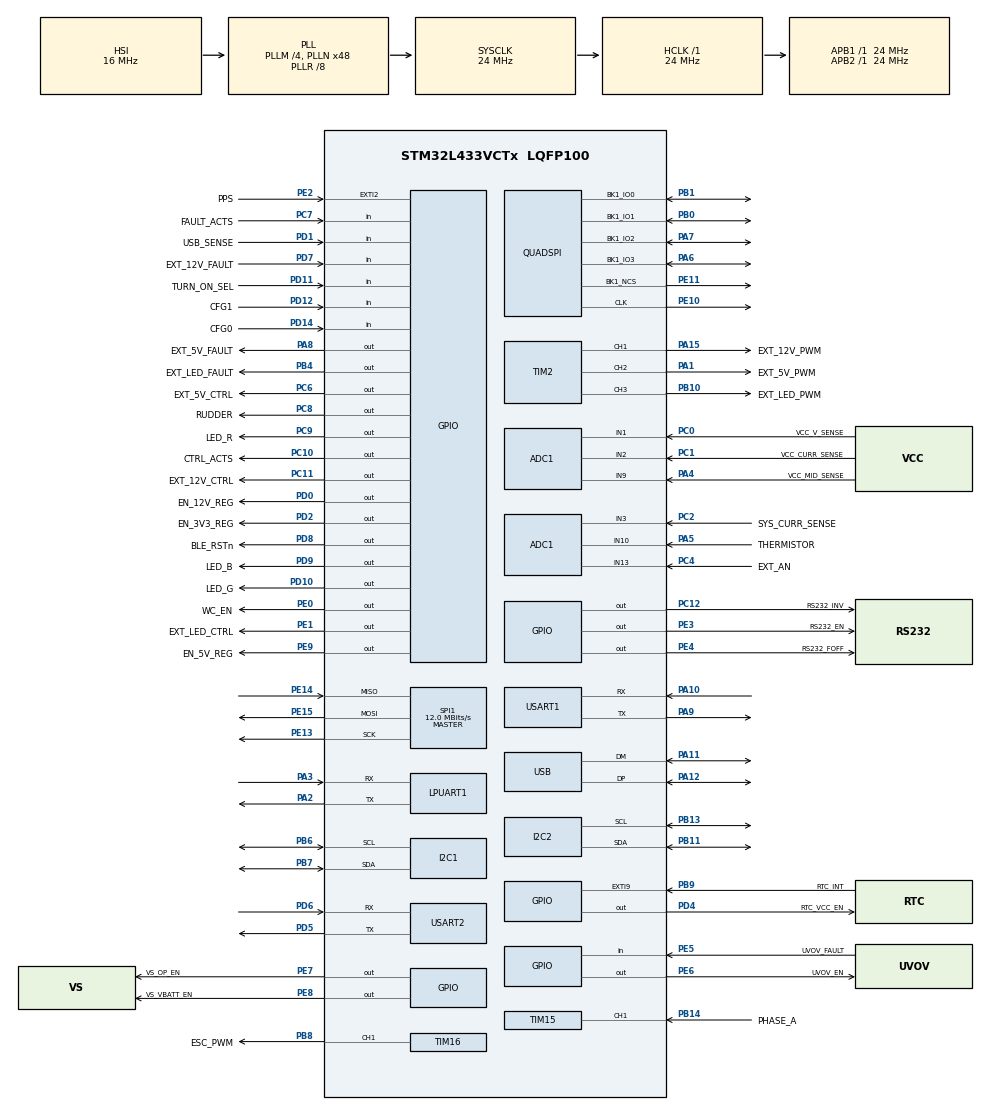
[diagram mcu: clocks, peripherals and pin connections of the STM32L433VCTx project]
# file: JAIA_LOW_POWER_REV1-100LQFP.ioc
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ADC1.Channel-0\#ChannelRegularConversion=ADC_CHANNEL_1
ADC1.NbrOfConversionFlag=1
ADC1.OffsetNumber-0\#ChannelRegularConversion=ADC_OFFSET_NONE
ADC1.Rank-0\#ChannelRegularConversion=1
ADC1.SamplingTime-0\#ChannelRegularConversion=ADC_SAMPLETIME_2CYCLES_5
ADC1.master=1
I2C1.Timing=0x00805C87
I2C2.Timing=0x00805C87
LPTIM1.ClockPrescaler=LPTIM_PRESCALER_DIV128
Mcu.Family=STM32L4
Mcu.Name=STM32L433VCTx
Mcu.Package=LQFP100
NVIC.PriorityGroup=NVIC_PRIORITYGROUP_4
NVIC.USB_IRQn=true\:0\:0\:false\:false\:true\:false\:true\:true
PA0.GPIO_Label=EXTI_WAKE
PA0.Mode=SYS_WakeUp0
PA0.Signal=SYS_WKUP1
PA1.GPIO_Label=EXT_5V_PWM
PA1.Signal=S_TIM2_CH2
PA10.Mode=Asynchronous
PA10.Signal=USART1_RX
PA11.Mode=Device
PA11.Signal=USB_DM
PA12.Mode=Device
PA12.Signal=USB_DP
PA13\ (JTMS-SWDIO).Mode=Trace_Asynchronous_SW
PA13\ (JTMS-SWDIO).Signal=SYS_JTMS-SWDIO
PA14\ (JTCK-SWCLK).Mode=Trace_Asynchronous_SW
PA14\ (JTCK-SWCLK).Signal=SYS_JTCK-SWCLK
PA15\ (JTDI).GPIO_Label=EXT_12V_PWM
PA15\ (JTDI).Signal=S_TIM2_CH1
PA2.Mode=Asynchronous
PA2.Signal=LPUART1_TX
PA3.Mode=Asynchronous
PA3.Signal=LPUART1_RX
PA4.GPIO_Label=VCC_MID_SENSE
PA4.Signal=ADCx_IN9
PA5.GPIO_Label=THERMISTOR
PA5.Signal=ADCx_IN10
PA6.Mode=Single Bank 1
PA6.Signal=QUADSPI_BK1_IO3
PA7.Mode=Single Bank 1
PA7.Signal=QUADSPI_BK1_IO2
PA8.GPIO_Label=EXT_5V_FAULT
PA8.Signal=GPIO_Output
PA9.Mode=Asynchronous
PA9.Signal=USART1_TX
PB0.Mode=Single Bank 1
PB0.Signal=QUADSPI_BK1_IO1
PB1.Mode=Single Bank 1
PB1.Signal=QUADSPI_BK1_IO0
PB10.GPIO_Label=EXT_LED_PWM
PB10.Signal=S_TIM2_CH3
PB11.Mode=I2C
PB11.Signal=I2C2_SDA
PB13.Mode=I2C
PB13.Signal=I2C2_SCL
PB14.GPIO_Label=PHASE_A
PB14.Signal=S_TIM15_CH1
PB3\ (JTDO-TRACESWO).Mode=Trace_Asynchronous_SW
PB3\ (JTDO-TRACESWO).Signal=SYS_JTDO-SWO
PB4\ (NJTRST).GPIO_Label=EXT_LED_FAULT
PB4\ (NJTRST).Signal=GPIO_Output
PB6.Mode=I2C
PB6.Signal=I2C1_SCL
PB7.Mode=I2C
PB7.Signal=I2C1_SDA
PB8.GPIO_Label=ESC_PWM
PB8.Signal=S_TIM16_CH1
PB9.GPIO_Label=RTC_INT
PB9.Signal=GPXTI9
PC0.GPIO_Label=VCC_V_SENSE
PC0.Signal=ADCx_IN1
PC1.GPIO_Label=VCC_CURR_SENSE
PC1.Signal=ADCx_IN2
PC10.GPIO_Label=CTRL_ACTS
PC10.Signal=GPIO_Output
PC11.GPIO_Label=EXT_12V_CTRL
PC11.Signal=GPIO_Output
PC12.GPIO_Label=RS232_INV
PC12.Signal=GPIO_Output
PC13.GPIO_Label=REED_WAKE
PC13.Mode=SYS_WakeUp1
PC13.Signal=SYS_WKUP2
PC14-OSC32_IN\ (PC14).Mode=LSE-External-Oscillator
PC14-OSC32_IN\ (PC14).Signal=RCC_OSC32_IN
PC15-OSC32_OUT\ (PC15).Mode=LSE-External-Oscillator
PC15-OSC32_OUT\ (PC15).Signal=RCC_OSC32_OUT
PC2.GPIO_Label=SYS_CURR_SENSE
PC2.Signal=ADCx_IN3
PC4.GPIO_Label=EXT_AN
PC4.Signal=ADCx_IN13
PC6.GPIO_Label=EXT_5V_CTRL
PC6.Signal=GPIO_Output
PC7.GPIO_Label=FAULT_ACTS
PC7.Signal=GPIO_Input
PC8.GPIO_Label=RUDDER
PC8.Signal=GPIO_Output
PC9.GPIO_Label=LED_R
PC9.Signal=GPIO_Output
PD0.GPIO_Label=EN_12V_REG
PD0.Signal=GPIO_Output
PD1.GPIO_Label=USB_SENSE
PD1.Signal=GPIO_Input
PD10.GPIO_Label=LED_G
PD10.Signal=GPIO_Output
PD11.GPIO_Label=TURN_ON_SEL
PD11.Signal=GPIO_Input
PD12.GPIO_Label=CFG1
PD12.Signal=GPIO_Input
PD14.GPIO_Label=CFG0
PD14.Signal=GPIO_Input
PD2.GPIO_Label=EN_3V3_REG
PD2.Signal=GPIO_Output
PD4.GPIO_Label=RTC_VCC_EN
PD4.Signal=GPIO_Output
PD5.Mode=Asynchronous
PD5.Signal=USART2_TX
PD6.Mode=Asynchronous
PD6.Signal=USART2_RX
PD7.GPIO_Label=EXT_12V_FAULT
PD7.Signal=GPIO_Input
PD8.GPIO_Label=BLE_RSTn
PD8.Signal=GPIO_Output
PD9.GPIO_Label=LED_B
PD9.Signal=GPIO_Output
PE0.GPIO_Label=WC_EN
PE0.Signal=GPIO_Output
PE1.GPIO_Label=EXT_LED_CTRL
PE1.Signal=GPIO_Output
PE10.Mode=Single Bank 1
PE10.Signal=QUADSPI_CLK
PE11.Mode=Single Bank 1
PE11.Signal=QUADSPI_BK1_NCS
PE13.Mode=Full_Duplex_Master
PE13.Signal=SPI1_SCK
PE14.Mode=Full_Duplex_Master
PE14.Signal=SPI1_MISO
PE15.Mode=Full_Duplex_Master
PE15.Signal=SPI1_MOSI
PE2.GPIO_Label=PPS
PE2.Signal=GPXTI2
PE3.GPIO_Label=RS232_EN
PE3.Signal=GPIO_Output
PE4.GPIO_Label=RS232_FOFF
PE4.Signal=GPIO_Output
PE5.GPIO_Label=UVOV_FAULT
PE5.Signal=GPIO_Input
PE6.GPIO_Label=UVOV_EN
PE6.Signal=GPIO_Output
PE7.GPIO_Label=VS_OP_EN
PE7.Signal=GPIO_Output
PE8.GPIO_Label=VS_VBATT_EN
PE8.Signal=GPIO_Output
PE9.GPIO_Label=EN_5V_REG
PE9.Signal=GPIO_Output
PH0-OSC_IN\ (PH0).Mode=HSE-External-Oscillator
PH0-OSC_IN\ (PH0).Signal=RCC_OSC_IN
PH1-OSC_OUT\ (PH1).Mode=HSE-External-Oscillator
PH1-OSC_OUT\ (PH1).Signal=RCC_OSC_OUT
ProjectManager.HeapSize=0x200
ProjectManager.StackSize=0x400
ProjectManager.TargetToolchain=Makefile
RCC.ADCFreq_Value=30000000
RCC.AHBFreq_Value=24000000
RCC.APB1Freq_Value=24000000
RCC.APB1TimFreq_Value=24000000
RCC.APB2Freq_Value=24000000
RCC.APB2TimFreq_Value=24000000
RCC.CK48CLockSelection=RCC_USBCLKSOURCE_HSI48
RCC.CortexFreq_Value=24000000
RCC.HCLKFreq_Value=24000000
RCC.HSE_VALUE=25000000
RCC.HSI48_VALUE=48000000
RCC.HSI_VALUE=16000000
RCC.MSI_VALUE=4000000
RCC.PLLM=4
RCC.PLLN=48
RCC.PLLQ=RCC_PLLQ_DIV6
RCC.PLLR=RCC_PLLR_DIV8
RCC.PLLSAI1N=30
RCC.PLLSAI1Q=RCC_PLLQ_DIV4
RCC.PLLSAI1R=RCC_PLLR_DIV4
RCC.PLLSourceVirtual=RCC_PLLSOURCE_HSI
RCC.SYSCLKFreq_VALUE=24000000
RCC.SYSCLKSource=RCC_SYSCLKSOURCE_PLLCLK
RCC.USBFreq_Value=48000000
RCC.VCOOutputFreq_Value=192000000
SH.ADCx_IN1.0=ADC1_IN1,IN1-Single-Ended
SH.ADCx_IN10.0=ADC1_IN10,IN10-Single-Ended
SH.ADCx_IN13.0=ADC1_IN13,IN13-Single-Ended
SH.ADCx_IN2.0=ADC1_IN2,IN2-Single-Ended
SH.ADCx_IN3.0=ADC1_IN3,IN3-Single-Ended
SH.ADCx_IN9.0=ADC1_IN9,IN9-Single-Ended
SH.S_TIM15_CH1.0=TIM15_CH1,Input_Capture1_from_TI1
SH.S_TIM16_CH1.0=TIM16_CH1,PWM Generation1 CH1
SH.S_TIM2_CH1.0=TIM2_CH1,PWM Generation1 CH1
SH.S_TIM2_CH2.0=TIM2_CH2,PWM Generation2 CH2
SH.S_TIM2_CH3.0=TIM2_CH3,PWM Generation3 CH3
SPI1.BaudRatePrescaler=SPI_BAUDRATEPRESCALER_2
SPI1.CalculateBaudRate=12.0 MBits/s
SPI1.Direction=SPI_DIRECTION_2LINES
SPI1.Mode=SPI_MODE_MASTER
SPI1.VirtualType=VM_MASTER
TIM15.Channel-Input_Capture1_from_TI1=TIM_CHANNEL_1
TIM16.Channel=TIM_CHANNEL_1
TIM2.Channel-PWM\ Generation1\ CH1=TIM_CHANNEL_1
TIM2.Channel-PWM\ Generation2\ CH2=TIM_CHANNEL_2
TIM2.Channel-PWM\ Generation3\ CH3=TIM_CHANNEL_3
USART1.VirtualMode-Asynchronous=VM_ASYNC
USART2.VirtualMode-Asynchronous=VM_ASYNC
USB_DEVICE.CLASS_NAME_FS=CDC
USB_DEVICE.VirtualMode=Cdc
USB_DEVICE.VirtualModeFS=Cdc_FS
VP_IWDG_VS_IWDG.Mode=IWDG_Activate
VP_LPTIM1_VS_LPTIM_counterModeInternalClock.Mode=Counts__internal_clock_event_00
VP_RTC_VS_RTC_Activate.Mode=RTC_Enabled
VP_TIM16_VS_ClockSourceINT.Mode=Enable_Timer
VP_TIM2_VS_ClockSourceINT.Mode=Internal
VP_USB_DEVICE_VS_USB_DEVICE_CDC_FS.Mode=CDC_FS
board=custom

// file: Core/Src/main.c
/* USER CODE BEGIN Header */
/**
  ******************************************************************************
  * @file           : main.c
  * @brief          : Main program body
  ******************************************************************************
  * @attention
  *
  * Copyright (c) 2025 STMicroelectronics.
  * All rights reserved.
  *
  * This software is licensed under terms that can be found in the LICENSE file
  * in the root directory of this software component.
  * If no LICENSE file comes with this software, it is provided AS-IS.
  *
  ******************************************************************************
  */
/* USER CODE END Header */
#include "main.h"
#include "usb_device.h"

/* USER CODE BEGIN Includes */
#include "usbd_cdc_if.h"
#include <string.h>
/* USER CODE END Includes */

ADC_HandleTypeDef hadc1;

I2C_HandleTypeDef hi2c1;
I2C_HandleTypeDef hi2c2;

IWDG_HandleTypeDef hiwdg;

LPTIM_HandleTypeDef hlptim1;

UART_HandleTypeDef hlpuart1;
UART_HandleTypeDef huart1;
UART_HandleTypeDef huart2;

QSPI_HandleTypeDef hqspi;

RTC_HandleTypeDef hrtc;

SPI_HandleTypeDef hspi1;

TIM_HandleTypeDef htim2;
TIM_HandleTypeDef htim15;
TIM_HandleTypeDef htim16;

/* USER CODE BEGIN PV */
static volatile uint8_t lptim_wake_flag = 0;
static volatile uint8_t reed_wake_flag = 0;

/* LSI ~32 kHz, LPTIM prescaler /128 -> 250 Hz. */
#define LPTIM_TICK_HZ 250U
#define DEFAULT_SLEEP_INTERVAL_MS 10000U
#define LPTIM_MAX_CHUNK_MS 10000U

uint8_t bits_in_byte = 8;
bool usb_tx_busy = false;
enum power_board_state current_state = REED_WAIT_STATE;
static volatile uint32_t sleep_interval_ms = DEFAULT_SLEEP_INTERVAL_MS;
static volatile uint32_t requested_low_power_ms = 0U;
static bool adc_calibration_failed = false;

// Motor tach on PHASE_A (TIM15_CH1), 2 pulses per revolution.
// RPM is computed from the time between edges, averaged over one revolution.
#define TACH_PULSES_PER_REV 2U
#define TACH_TICK_HZ 100000U // TIM15 24 MHz / (prescaler 239 + 1)
#define TACH_TIMEOUT_MS 600U // must stay below the 16-bit counter wrap
static volatile uint16_t tach_last_capture = 0U;
static volatile uint32_t tach_last_edge_ms = 0U;
static volatile bool tach_have_edge = false;
static volatile uint32_t tach_periods[TACH_PULSES_PER_REV] = {0U};
static volatile uint8_t tach_period_count = 0U;
static volatile uint8_t tach_period_next = 0U;
static bool tach_running = false;
static float motor_rpm = 0.0f;
/* USER CODE END PV */

void SystemClock_Config(void);
static void MX_GPIO_Init(void);
static void MX_ADC1_Init(void);
static void MX_I2C1_Init(void);
static void MX_I2C2_Init(void);
static void MX_IWDG_Init(void);
static void MX_LPUART1_UART_Init(void);
static void MX_USART1_UART_Init(void);
static void MX_USART2_UART_Init(void);
static void MX_QUADSPI_Init(void);
static void MX_RTC_Init(void);
static void MX_SPI1_Init(void);
static void MX_TIM2_Init(void);
static void MX_TIM15_Init(void);
static void MX_TIM16_Init(void);
static void MX_LPTIM1_Init(void);

/* USER CODE BEGIN 0 */

static bool adc_read_channel(ADC_HandleTypeDef* hadc, uint32_t channel, uint32_t* raw)
{
    ADC_ChannelConfTypeDef sConfig = {0};
    sConfig.Channel = channel;
    sConfig.Rank = ADC_REGULAR_RANK_1;
    // Long sample time for the high-impedance THERMISTOR input
    sConfig.SamplingTime = ADC_SAMPLETIME_640CYCLES_5;
    sConfig.SingleDiff = ADC_SINGLE_ENDED;
    sConfig.OffsetNumber = ADC_OFFSET_NONE;
    sConfig.Offset = 0;

    // Bounded timeout so a failed conversion can't hang the main loop
    const uint32_t adc_poll_timeout_ms = 10U;

    if (HAL_ADC_ConfigChannel(hadc, &sConfig) != HAL_OK)
    {
        return false;
    }
    if (HAL_ADC_Start(hadc) != HAL_OK)
    {
        return false;
    }
    if (HAL_ADC_PollForConversion(hadc, adc_poll_timeout_ms) != HAL_OK)
    {
        HAL_ADC_Stop(hadc);
        return false;
    }
    *raw = HAL_ADC_GetValue(hadc);
    HAL_ADC_Stop(hadc);
    return true;
}

#define ADC_TO_VOLTS(raw) ((raw) / 4095.0f * 3.3f)
// VCC_V_SENSE saturates within the normal pack voltage range,
// so it is only kept as a raw diagnostic value.
#define ADC_TO_BATTERY_VOLTS(raw) ((raw) * 0.00503f)
// VCC_MID_SENSE reads the pack center tap through a 100k/430k divider.
#define ADC_TO_BATTERY_VOLTS_FROM_MID(raw) ((raw) * 0.00693f)

static void tach_start(void)
{
    tach_have_edge = false;
    tach_period_count = 0U;
    tach_period_next = 0U;
    motor_rpm = 0.0f;
    tach_running = (HAL_TIM_IC_Start_IT(&htim15, TIM_CHANNEL_1) == HAL_OK);
}

static void tach_stop(void)
{
    if (tach_running)
    {
        HAL_TIM_IC_Stop_IT(&htim15, TIM_CHANNEL_1);
    }
    tach_running = false;
    motor_rpm = 0.0f;
}

static void tach_periodic_update(void)
{
    if (!tach_running)
    {
        return;
    }

    __disable_irq();
    bool have_edge = tach_have_edge;
    uint32_t last_edge_ms = tach_last_edge_ms;
    uint8_t period_count = tach_period_count;
    uint32_t period_ticks_sum = 0U;
    for (uint8_t i = 0U; i < period_count; ++i) { period_ticks_sum += tach_periods[i]; }
    __enable_irq();

    if (!have_edge || (HAL_GetTick() - last_edge_ms) >= TACH_TIMEOUT_MS || period_count == 0U)
    {
        motor_rpm = 0.0f;
        return;
    }

    motor_rpm = (60.0f * (float)TACH_TICK_HZ * (float)period_count) /
                ((float)TACH_PULSES_PER_REV * (float)period_ticks_sum);
}

static void power_board_build_telemetry(PowerBoardResponse* response)
{
    response->time = (uint64_t)HAL_GetTick() * 1000ULL;

    // // Enable the battery-sense rail and op-amp only while measuring VCC.
    // HAL_GPIO_WritePin(VS_VBATT_EN_GPIO_Port, VS_VBATT_EN_Pin, GPIO_PIN_SET);
    // HAL_GPIO_WritePin(VS_OP_EN_GPIO_Port, VS_OP_EN_Pin, GPIO_PIN_SET);
    HAL_Delay(10);
    uint32_t vcc_direct_raw = 0U;
    adc_read_channel(&hadc1, ADC_CHANNEL_1, &vcc_direct_raw);
    response->has_vcc_direct_sense_raw = true;
    response->vcc_direct_sense_raw = vcc_direct_raw;

    uint32_t vcc_mid_raw = 0U;
    adc_read_channel(&hadc1, ADC_CHANNEL_9, &vcc_mid_raw);
    response->has_vcc_mid_sense_raw = true;
    response->vcc_mid_sense_raw = vcc_mid_raw;

    // Report battery voltage from the center tap since VCC_V_SENSE saturates.
    response->has_vccvoltage = true;
    response->vccvoltage = ADC_TO_BATTERY_VOLTS_FROM_MID(vcc_mid_raw);
    response->has_vccvoltage_raw = true;
    response->vccvoltage_raw = vcc_mid_raw;
    response->has_vcccurrent = true;
    uint32_t vcc_current_raw = 0U;
    adc_read_channel(&hadc1, ADC_CHANNEL_2, &vcc_current_raw);
    response->vcccurrent = ADC_TO_VOLTS(vcc_current_raw);
    // HAL_GPIO_WritePin(VS_OP_EN_GPIO_Port, VS_OP_EN_Pin, GPIO_PIN_RESET);
    // HAL_GPIO_WritePin(VS_VBATT_EN_GPIO_Port, VS_VBATT_EN_Pin, GPIO_PIN_RESET);

    uint32_t vv_current_raw = 0U;
    response->has_vvcurrent = true;
    adc_read_channel(&hadc1, ADC_CHANNEL_3, &vv_current_raw);
    response->vvcurrent = ADC_TO_VOLTS(vv_current_raw);

    uint32_t thermistor_raw = 0U;
    response->has_thermistor_voltage = true;
    adc_read_channel(&hadc1, ADC_CHANNEL_10, &thermistor_raw);
    response->thermistor_voltage = ADC_TO_VOLTS(thermistor_raw);

    uint32_t generic_gpio_raw = 0U;
    response->has_generic_gpio_voltage = true;
    adc_read_channel(&hadc1, ADC_CHANNEL_13, &generic_gpio_raw);
    response->generic_gpio_voltage = ADC_TO_VOLTS(generic_gpio_raw);

    response->has_motor = true;
    response->motor = controls_get_motor_output();

    response->has_motor_rpm = tach_running;
    response->motor_rpm = motor_rpm;
}

static bool low_power_request_pending(void) { return requested_low_power_ms != 0U; }

static uint32_t take_low_power_request_ms(void)
{
    uint32_t duration_ms = requested_low_power_ms;
    requested_low_power_ms = 0U;

    return duration_ms;
}

static void service_host_commands(uint32_t budget_ms)
{
    uint32_t start_ms = HAL_GetTick();

    do {
        power_board_command_process();
        controls_periodic_update();
        tach_periodic_update();
        HAL_IWDG_Refresh(&hiwdg);
        if (low_power_request_pending())
        {
            break;
        }
        HAL_Delay(5);
    } while ((HAL_GetTick() - start_ms) < budget_ms);
}

static uint64_t lptim_counts_from_ms(uint32_t duration_ms)
{
    uint64_t counts = ((uint64_t)duration_ms * LPTIM_TICK_HZ + 999U) / 1000U;

    return (counts == 0U) ? 1U : counts;
}

static void gpio_sleep_analog(void)
{
    GPIO_InitTypeDef analog_cfg = {0};
    analog_cfg.Mode = GPIO_MODE_ANALOG;
    analog_cfg.Pull = GPIO_NOPULL;

    analog_cfg.Pin = GPIO_PIN_All & ~(GPIO_PIN_13 | GPIO_PIN_14);
    HAL_GPIO_Init(GPIOA, &analog_cfg); // keep SWDIO/SWCLK
    analog_cfg.Pin = GPIO_PIN_All;
    HAL_GPIO_Init(GPIOB, &analog_cfg);
    analog_cfg.Pin = GPIO_PIN_All & ~GPIO_PIN_13;
    HAL_GPIO_Init(GPIOC, &analog_cfg); // keep reed EXTI (PC13)
    analog_cfg.Pin = GPIO_PIN_All & ~BLE_RSTn_Pin;
    HAL_GPIO_Init(GPIOD, &analog_cfg); // keep NINA in reset
    analog_cfg.Pin = GPIO_PIN_All & ~(RS232_EN_Pin | RS232_FOFF_Pin);
    HAL_GPIO_Init(GPIOE, &analog_cfg); // keep RS232 forced off
}

static void stop2_sleep(uint32_t duration_ms, bool wake_on_reed)
{
    const uint64_t max_chunk_counts = lptim_counts_from_ms(LPTIM_MAX_CHUNK_MS);
    uint64_t remaining_counts = lptim_counts_from_ms(duration_ms);
    reed_wake_flag = 0U;

    HAL_SuspendTick();
    gpio_sleep_analog(); // drop driven-pin leakage during the sleep
    while (remaining_counts > 0U && !(wake_on_reed && reed_wake_flag != 0U))
    {
        const uint64_t chunk_counts =
            (remaining_counts > max_chunk_counts) ? max_chunk_counts : remaining_counts;
        lptim_wake_flag = 0U;

        if (HAL_LPTIM_Counter_Start_IT(&hlptim1, (uint16_t)(chunk_counts - 1U)) != HAL_OK)
        {
            Error_Handler();
        }

        while (lptim_wake_flag == 0U && !(wake_on_reed && reed_wake_flag != 0U))
        {
            HAL_PWREx_EnterSTOP2Mode(PWR_STOPENTRY_WFI);
            SystemClock_Config();
        }

        HAL_LPTIM_Counter_Stop_IT(&hlptim1);
        HAL_IWDG_Refresh(&hiwdg);
        remaining_counts -= chunk_counts;
    }
    MX_GPIO_Init(); // restore pin config after wake
    HAL_ResumeTick();
}

static void power_board_disable_external_power(void)
{
    target_motor_us = MOTOR_NEUTRAL_US;
    controls_periodic_update();

    HAL_GPIO_WritePin(LED_R_GPIO_Port, LED_R_Pin, GPIO_PIN_RESET);
    HAL_GPIO_WritePin(LED_G_GPIO_Port, LED_G_Pin, GPIO_PIN_RESET);
    HAL_GPIO_WritePin(LED_B_GPIO_Port, LED_B_Pin, GPIO_PIN_RESET);
    HAL_GPIO_WritePin(CTRL_ACTS_GPIO_Port, CTRL_ACTS_Pin, GPIO_PIN_RESET);
    HAL_GPIO_WritePin(VS_VBATT_EN_GPIO_Port, VS_VBATT_EN_Pin, GPIO_PIN_RESET);
    HAL_GPIO_WritePin(EN_12V_REG_GPIO_Port, EN_12V_REG_Pin, GPIO_PIN_RESET);
    HAL_GPIO_WritePin(EN_5V_REG_GPIO_Port, EN_5V_REG_Pin, GPIO_PIN_RESET);
    HAL_GPIO_WritePin(EN_3V3_REG_GPIO_Port, EN_3V3_REG_Pin, GPIO_PIN_RESET);
    HAL_GPIO_WritePin(UVOV_EN_GPIO_Port, UVOV_EN_Pin, GPIO_PIN_RESET);
}

static void power_board_enable_external_power(void)
{
    HAL_GPIO_WritePin(UVOV_EN_GPIO_Port, UVOV_EN_Pin, GPIO_PIN_SET);
    HAL_Delay(300);

    HAL_GPIO_WritePin(EN_12V_REG_GPIO_Port, EN_12V_REG_Pin, GPIO_PIN_SET);
    HAL_GPIO_WritePin(EN_5V_REG_GPIO_Port, EN_5V_REG_Pin, GPIO_PIN_SET);
    HAL_GPIO_WritePin(EN_3V3_REG_GPIO_Port, EN_3V3_REG_Pin, GPIO_PIN_SET);
    HAL_GPIO_WritePin(VS_VBATT_EN_GPIO_Port, VS_VBATT_EN_Pin, GPIO_PIN_SET);
    // +5V_ACT on motor header J4-1 powers the tach and thermistor
    HAL_GPIO_WritePin(CTRL_ACTS_GPIO_Port, CTRL_ACTS_Pin, GPIO_PIN_SET);

    HAL_GPIO_WritePin(VS_OP_EN_GPIO_Port, VS_OP_EN_Pin,
                      GPIO_PIN_RESET); // Needs to be RESET to enable the op-amp
}

// Peripherals only needed once the reed switch has closed. Deferring their
// init reduces current draw in REED_WAIT_STATE. Also re-run on each wake.
static void power_board_init_runtime_peripherals(void)
{
    // RTC only needs initializing once; it is not torn down for sleep.
    static bool did_one_time_init = false;

    MX_ADC1_Init();
    // De-init puts the ADC in deep power down, which loses its calibration.
    adc_calibration_failed = (HAL_ADCEx_Calibration_Start(&hadc1, ADC_SINGLE_ENDED) != HAL_OK);
    MX_I2C1_Init();
    MX_I2C2_Init();
    MX_LPUART1_UART_Init();
    MX_USART1_UART_Init();
    MX_USART2_UART_Init();
    MX_QUADSPI_Init();
    MX_SPI1_Init();
    MX_TIM2_Init();
    MX_TIM15_Init();
    tach_start();
    MX_TIM16_Init();
    if (!did_one_time_init)
    {
        did_one_time_init = true;
        MX_RTC_Init();
    }
    MX_USB_DEVICE_Init();

    /* Allow USB host time to enumerate the CDC device before the first TX. */
    HAL_Delay(2000);
}

// Undoes power_board_init_runtime_peripherals() so a between-mission sleep
// runs with the same peripherals as REED_WAIT_STATE: only GPIO, IWDG and LPTIM1.
static void power_board_deinit_runtime_peripherals(void)
{
    extern USBD_HandleTypeDef hUsbDeviceFS;

    controls_stop_outputs();

    USBD_Stop(&hUsbDeviceFS);
    USBD_DeInit(&hUsbDeviceFS);

    HAL_TIM_Base_DeInit(&htim16);
    tach_stop();
    HAL_TIM_IC_DeInit(&htim15);
    HAL_TIM_Base_DeInit(&htim2);
    HAL_SPI_DeInit(&hspi1);
    HAL_QSPI_DeInit(&hqspi);
    HAL_UART_DeInit(&huart2);
    HAL_UART_DeInit(&huart1);
    HAL_UART_DeInit(&hlpuart1);
    HAL_I2C_DeInit(&hi2c2);
    HAL_I2C_DeInit(&hi2c1);
    HAL_ADC_DeInit(&hadc1);
}

// Host-requested sleep between missions. Powers down like REED_WAIT_STATE
// and sleeps the full duration; the reed switch does not wake it.
static void power_board_sleep_between_missions(uint32_t duration_ms)
{
    power_board_disable_external_power();
    power_board_deinit_runtime_peripherals();

    stop2_sleep(duration_ms, false);

    power_board_init_runtime_peripherals();
    power_board_enable_external_power();
}

/* USER CODE END 0 */

int main(void)
{

    /* MCU Configuration--------------------------------------------------------*/

    /* Reset of all peripherals, Initializes the Flash interface and the Systick. */
    HAL_Init();

    /* Configure the system clock */
    SystemClock_Config();

    /* Initialize all configured peripherals */
    // Only GPIO/IWDG/LPTIM1 are needed to wait on the reed switch; the rest
    // are brought up in power_board_init_runtime_peripherals() once it closes.
    MX_GPIO_Init();
    MX_IWDG_Init();
    MX_LPTIM1_Init();
    /* USER CODE BEGIN 2 */

    /* Hold NINA-B112 in reset during sleep */
    HAL_GPIO_WritePin(BLE_RSTn_GPIO_Port, BLE_RSTn_Pin, GPIO_PIN_RESET);

    power_board_disable_external_power();

    init_crc32_table();
    /* USER CODE END 2 */

    /* Infinite loop */
    /* USER CODE BEGIN WHILE */

    // 20Hz loop
    while (1)
    {
        /* USER CODE END WHILE */

        /* USER CODE BEGIN 3 */

        HAL_IWDG_Refresh(&hiwdg);

        // Runtime peripherals aren't initialized while waiting on the reed switch.
        if (current_state != REED_WAIT_STATE)
        {
            // Dispatch complete USB commands while the board is awake.
            power_board_command_process();

            // Step the motor ramp toward target_motor_us and check for command timeout.
            controls_periodic_update();
            tach_periodic_update();
            if (controls_take_timeout_event())
            {
                power_board_send_status(jaiabot_protobuf_PowerBoardStatusCode_POWER_BOARD_TIMEOUT);
            }
        }

        // State loop: short command-service window while awake, then sleep.
        switch (current_state)
        {
            case REED_WAIT_STATE:
            {
                static uint8_t reed_active_samples = 0U;

                if (HAL_GPIO_ReadPin(REED_WAKE_GPIO_Port, REED_WAKE_Pin) == REED_WAKE_ACTIVE_STATE)
                {
                    ++reed_active_samples;
                    if (reed_active_samples >= 3U)
                    {
                        power_board_init_runtime_peripherals();
                        power_board_enable_external_power();
                        current_state = INIT_STATE;
                    }
                }
                else
                {
                    reed_active_samples = 0U;
                    stop2_sleep(DEFAULT_SLEEP_INTERVAL_MS, true);
                }
            }
            break;

            case INIT_STATE:
            {
                // Notify the host once at boot, not on every wake from SLEEP_STATE.
                static bool did_startup_init = false;

                if (!did_startup_init)
                {
                    did_startup_init = true;
                    bool init_failed = adc_calibration_failed;

                    PowerBoardResponse startup_response =
                        jaiabot_protobuf_PowerBoardResponse_init_zero;
                    startup_response.time = (uint64_t)HAL_GetTick() * 1000ULL;
                    startup_response.which_data = jaiabot_protobuf_PowerBoardResponse_metadata_tag;
                    startup_response.data.metadata.has_init_failed = true;
                    startup_response.data.metadata.init_failed = init_failed;
                    startup_response.data.metadata.has_power_board_version = true;
                    startup_response.data.metadata.power_board_version = 1;
                    usb_transmit(&startup_response);
                    power_board_send_status(
                        jaiabot_protobuf_PowerBoardStatusCode_POWER_BOARD_STARTUP);
                }
            }

                current_state = BROADCAST_STATE;

                break;

            case BROADCAST_STATE:
                // Send telemetry only in response to a valid control-surfaces command.
                if (power_board_take_telemetry_request())
                {
                    PowerBoardResponse telemetry_response =
                        jaiabot_protobuf_PowerBoardResponse_init_zero;
                    power_board_build_telemetry(&telemetry_response);
                    usb_transmit(&telemetry_response);
                }

                break;

            case SLEEP_STATE:
                // A host request overrides the periodic sleep interval.
                {
                    uint32_t sleep_duration_ms = take_low_power_request_ms();
                    if (sleep_duration_ms == 0U)
                    {
                        sleep_duration_ms = power_board_get_sleep_interval_ms();
                    }

                    power_board_sleep_between_missions(sleep_duration_ms);
                    current_state = INIT_STATE;
                }
                break;

            default: current_state = INIT_STATE;
        }

        HAL_Delay(50);
    }
    /* USER CODE END 3 */
}

void SystemClock_Config(void)
{
    RCC_OscInitTypeDef RCC_OscInitStruct = {0};
    RCC_ClkInitTypeDef RCC_ClkInitStruct = {0};

    /** Configure the main internal regulator output voltage
  */
    if (HAL_PWREx_ControlVoltageScaling(PWR_REGULATOR_VOLTAGE_SCALE1) != HAL_OK)
    {
        Error_Handler();
    }

    /** Initializes the RCC Oscillators according to the specified parameters
  * in the RCC_OscInitTypeDef structure.
  */
    RCC_OscInitStruct.OscillatorType =
        RCC_OSCILLATORTYPE_HSI48 | RCC_OSCILLATORTYPE_HSI | RCC_OSCILLATORTYPE_LSI;
    RCC_OscInitStruct.HSIState = RCC_HSI_ON;
    RCC_OscInitStruct.HSI48State = RCC_HSI48_ON;
    RCC_OscInitStruct.HSICalibrationValue = RCC_HSICALIBRATION_DEFAULT;
    RCC_OscInitStruct.LSIState = RCC_LSI_ON;
    RCC_OscInitStruct.PLL.PLLState = RCC_PLL_ON;
    RCC_OscInitStruct.PLL.PLLSource = RCC_PLLSOURCE_HSI;
    RCC_OscInitStruct.PLL.PLLM = 4;
    RCC_OscInitStruct.PLL.PLLN = 48;
    RCC_OscInitStruct.PLL.PLLP = RCC_PLLP_DIV7;
    RCC_OscInitStruct.PLL.PLLQ = RCC_PLLQ_DIV6;
    RCC_OscInitStruct.PLL.PLLR = RCC_PLLR_DIV8;
    if (HAL_RCC_OscConfig(&RCC_OscInitStruct) != HAL_OK)
    {
        Error_Handler();
    }

    /** Initializes the CPU, AHB and APB buses clocks
  */
    RCC_ClkInitStruct.ClockType =
        RCC_CLOCKTYPE_HCLK | RCC_CLOCKTYPE_SYSCLK | RCC_CLOCKTYPE_PCLK1 | RCC_CLOCKTYPE_PCLK2;
    RCC_ClkInitStruct.SYSCLKSource = RCC_SYSCLKSOURCE_PLLCLK;
    RCC_ClkInitStruct.AHBCLKDivider = RCC_SYSCLK_DIV1;
    RCC_ClkInitStruct.APB1CLKDivider = RCC_HCLK_DIV1;
    RCC_ClkInitStruct.APB2CLKDivider = RCC_HCLK_DIV1;

    if (HAL_RCC_ClockConfig(&RCC_ClkInitStruct, FLASH_LATENCY_1) != HAL_OK)
    {
        Error_Handler();
    }
}

static void MX_ADC1_Init(void)
{

    ADC_ChannelConfTypeDef sConfig = {0};

    /** Common config
  */
    hadc1.Instance = ADC1;
    hadc1.Init.ClockPrescaler = ADC_CLOCK_ASYNC_DIV1;
    hadc1.Init.Resolution = ADC_RESOLUTION_12B;
    hadc1.Init.DataAlign = ADC_DATAALIGN_RIGHT;
    hadc1.Init.ScanConvMode = ADC_SCAN_DISABLE;
    hadc1.Init.EOCSelection = ADC_EOC_SINGLE_CONV;
    hadc1.Init.LowPowerAutoWait = DISABLE;
    hadc1.Init.ContinuousConvMode = DISABLE;
    hadc1.Init.NbrOfConversion = 1;
    hadc1.Init.DiscontinuousConvMode = DISABLE;
    hadc1.Init.ExternalTrigConv = ADC_SOFTWARE_START;
    hadc1.Init.ExternalTrigConvEdge = ADC_EXTERNALTRIGCONVEDGE_NONE;
    hadc1.Init.DMAContinuousRequests = DISABLE;
    hadc1.Init.Overrun = ADC_OVR_DATA_PRESERVED;
    hadc1.Init.OversamplingMode = DISABLE;
    if (HAL_ADC_Init(&hadc1) != HAL_OK)
    {
        Error_Handler();
    }

    /** Configure Regular Channel
  */
    sConfig.Channel = ADC_CHANNEL_1;
    sConfig.Rank = ADC_REGULAR_RANK_1;
    sConfig.SamplingTime = ADC_SAMPLETIME_2CYCLES_5;
    sConfig.SingleDiff = ADC_SINGLE_ENDED;
    sConfig.OffsetNumber = ADC_OFFSET_NONE;
    sConfig.Offset = 0;
    if (HAL_ADC_ConfigChannel(&hadc1, &sConfig) != HAL_OK)
    {
        Error_Handler();
    }
}

static void MX_I2C1_Init(void)
{

    hi2c1.Instance = I2C1;
    hi2c1.Init.Timing = 0x00805C87;
    hi2c1.Init.OwnAddress1 = 0;
    hi2c1.Init.AddressingMode = I2C_ADDRESSINGMODE_7BIT;
    hi2c1.Init.DualAddressMode = I2C_DUALADDRESS_DISABLE;
    hi2c1.Init.OwnAddress2 = 0;
    hi2c1.Init.OwnAddress2Masks = I2C_OA2_NOMASK;
    hi2c1.Init.GeneralCallMode = I2C_GENERALCALL_DISABLE;
    hi2c1.Init.NoStretchMode = I2C_NOSTRETCH_DISABLE;
    if (HAL_I2C_Init(&hi2c1) != HAL_OK)
    {
        Error_Handler();
    }

    /** Configure Analogue filter
  */
    if (HAL_I2CEx_ConfigAnalogFilter(&hi2c1, I2C_ANALOGFILTER_ENABLE) != HAL_OK)
    {
        Error_Handler();
    }

    /** Configure Digital filter
  */
    if (HAL_I2CEx_ConfigDigitalFilter(&hi2c1, 0) != HAL_OK)
    {
        Error_Handler();
    }
}

static void MX_I2C2_Init(void)
{

    hi2c2.Instance = I2C2;
    hi2c2.Init.Timing = 0x00805C87;
    hi2c2.Init.OwnAddress1 = 0;
    hi2c2.Init.AddressingMode = I2C_ADDRESSINGMODE_7BIT;
    hi2c2.Init.DualAddressMode = I2C_DUALADDRESS_DISABLE;
    hi2c2.Init.OwnAddress2 = 0;
    hi2c2.Init.OwnAddress2Masks = I2C_OA2_NOMASK;
    hi2c2.Init.GeneralCallMode = I2C_GENERALCALL_DISABLE;
    hi2c2.Init.NoStretchMode = I2C_NOSTRETCH_DISABLE;
    if (HAL_I2C_Init(&hi2c2) != HAL_OK)
    {
        Error_Handler();
    }

    /** Configure Analogue filter
  */
    if (HAL_I2CEx_ConfigAnalogFilter(&hi2c2, I2C_ANALOGFILTER_ENABLE) != HAL_OK)
    {
        Error_Handler();
    }

    /** Configure Digital filter
  */
    if (HAL_I2CEx_ConfigDigitalFilter(&hi2c2, 0) != HAL_OK)
    {
        Error_Handler();
    }
}

static void MX_IWDG_Init(void)
{

    hiwdg.Instance = IWDG;
    /* Main loop sleeps ~10s per iteration (LPTIM_10SEC_PERIOD) waiting on the
   * low-power timer, refreshing the watchdog once per wake. PRESCALER_256
   * gives a ~32.7s timeout (4096 / (32kHz LSI / 256)), comfortably covering
   * that sleep with margin. */
    hiwdg.Init.Prescaler = IWDG_PRESCALER_256;
    hiwdg.Init.Window = 4095;
    hiwdg.Init.Reload = 4095;
    if (HAL_IWDG_Init(&hiwdg) != HAL_OK)
    {
        Error_Handler();
    }
}

static void MX_LPTIM1_Init(void)
{

    hlptim1.Instance = LPTIM1;
    hlptim1.Init.Clock.Source = LPTIM_CLOCKSOURCE_APBCLOCK_LPOSC;
    hlptim1.Init.Clock.Prescaler = LPTIM_PRESCALER_DIV128;
    hlptim1.Init.Trigger.Source = LPTIM_TRIGSOURCE_SOFTWARE;
    hlptim1.Init.OutputPolarity = LPTIM_OUTPUTPOLARITY_HIGH;
    hlptim1.Init.UpdateMode = LPTIM_UPDATE_IMMEDIATE;
    hlptim1.Init.CounterSource = LPTIM_COUNTERSOURCE_INTERNAL;
    hlptim1.Init.Input1Source = LPTIM_INPUT1SOURCE_GPIO;
    hlptim1.Init.Input2Source = LPTIM_INPUT2SOURCE_GPIO;
    if (HAL_LPTIM_Init(&hlptim1) != HAL_OK)
    {
        Error_Handler();
    }
}

static void MX_LPUART1_UART_Init(void)
{

    hlpuart1.Instance = LPUART1;
    hlpuart1.Init.BaudRate = 209700;
    hlpuart1.Init.WordLength = UART_WORDLENGTH_7B;
    hlpuart1.Init.StopBits = UART_STOPBITS_1;
    hlpuart1.Init.Parity = UART_PARITY_NONE;
    hlpuart1.Init.Mode = UART_MODE_TX_RX;
    hlpuart1.Init.HwFlowCtl = UART_HWCONTROL_NONE;
    hlpuart1.Init.OneBitSampling = UART_ONE_BIT_SAMPLE_DISABLE;
    hlpuart1.AdvancedInit.AdvFeatureInit = UART_ADVFEATURE_NO_INIT;
    if (HAL_UART_Init(&hlpuart1) != HAL_OK)
    {
        Error_Handler();
    }
}

static void MX_USART1_UART_Init(void)
{

    huart1.Instance = USART1;
    huart1.Init.BaudRate = 115200;
    huart1.Init.WordLength = UART_WORDLENGTH_8B;
    huart1.Init.StopBits = UART_STOPBITS_1;
    huart1.Init.Parity = UART_PARITY_NONE;
    huart1.Init.Mode = UART_MODE_TX_RX;
    huart1.Init.HwFlowCtl = UART_HWCONTROL_NONE;
    huart1.Init.OverSampling = UART_OVERSAMPLING_16;
    huart1.Init.OneBitSampling = UART_ONE_BIT_SAMPLE_DISABLE;
    huart1.AdvancedInit.AdvFeatureInit = UART_ADVFEATURE_NO_INIT;
    if (HAL_UART_Init(&huart1) != HAL_OK)
    {
        Error_Handler();
    }
}

static void MX_USART2_UART_Init(void)
{

    huart2.Instance = USART2;
    huart2.Init.BaudRate = 115200;
    huart2.Init.WordLength = UART_WORDLENGTH_8B;
    huart2.Init.StopBits = UART_STOPBITS_1;
    huart2.Init.Parity = UART_PARITY_NONE;
    huart2.Init.Mode = UART_MODE_TX_RX;
    huart2.Init.HwFlowCtl = UART_HWCONTROL_NONE;
    huart2.Init.OverSampling = UART_OVERSAMPLING_16;
    huart2.Init.OneBitSampling = UART_ONE_BIT_SAMPLE_DISABLE;
    huart2.AdvancedInit.AdvFeatureInit = UART_ADVFEATURE_NO_INIT;
    if (HAL_UART_Init(&huart2) != HAL_OK)
    {
        Error_Handler();
    }
}

static void MX_QUADSPI_Init(void)
{

    /* QUADSPI parameter configuration*/
    hqspi.Instance = QUADSPI;
    hqspi.Init.ClockPrescaler = 255;
    hqspi.Init.FifoThreshold = 1;
    hqspi.Init.SampleShifting = QSPI_SAMPLE_SHIFTING_NONE;
    hqspi.Init.FlashSize = 1;
    hqspi.Init.ChipSelectHighTime = QSPI_CS_HIGH_TIME_1_CYCLE;
    hqspi.Init.ClockMode = QSPI_CLOCK_MODE_0;
    hqspi.Init.FlashID = QSPI_FLASH_ID_1;
    hqspi.Init.DualFlash = QSPI_DUALFLASH_DISABLE;
    if (HAL_QSPI_Init(&hqspi) != HAL_OK)
    {
        Error_Handler();
    }
}

static void MX_RTC_Init(void)
{

    /** Initialize RTC Only
  */
    hrtc.Instance = RTC;
    hrtc.Init.HourFormat = RTC_HOURFORMAT_24;
    hrtc.Init.AsynchPrediv = 127;
    hrtc.Init.SynchPrediv = 255;
    hrtc.Init.OutPut = RTC_OUTPUT_DISABLE;
    hrtc.Init.OutPutRemap = RTC_OUTPUT_REMAP_NONE;
    hrtc.Init.OutPutPolarity = RTC_OUTPUT_POLARITY_HIGH;
    hrtc.Init.OutPutType = RTC_OUTPUT_TYPE_OPENDRAIN;
    if (HAL_RTC_Init(&hrtc) != HAL_OK)
    {
        Error_Handler();
    }
}

static void MX_SPI1_Init(void)
{

    /* SPI1 parameter configuration*/
    hspi1.Instance = SPI1;
    hspi1.Init.Mode = SPI_MODE_MASTER;
    hspi1.Init.Direction = SPI_DIRECTION_2LINES;
    hspi1.Init.DataSize = SPI_DATASIZE_4BIT;
    hspi1.Init.CLKPolarity = SPI_POLARITY_LOW;
    hspi1.Init.CLKPhase = SPI_PHASE_1EDGE;
    hspi1.Init.NSS = SPI_NSS_SOFT;
    hspi1.Init.BaudRatePrescaler = SPI_BAUDRATEPRESCALER_2;
    hspi1.Init.FirstBit = SPI_FIRSTBIT_MSB;
    hspi1.Init.TIMode = SPI_TIMODE_DISABLE;
    hspi1.Init.CRCCalculation = SPI_CRCCALCULATION_DISABLE;
    hspi1.Init.CRCPolynomial = 7;
    hspi1.Init.CRCLength = SPI_CRC_LENGTH_DATASIZE;
    hspi1.Init.NSSPMode = SPI_NSS_PULSE_ENABLE;
    if (HAL_SPI_Init(&hspi1) != HAL_OK)
    {
        Error_Handler();
    }
}

static void MX_TIM2_Init(void)
{

    TIM_ClockConfigTypeDef sClockSourceConfig = {0};
    TIM_MasterConfigTypeDef sMasterConfig = {0};
    TIM_OC_InitTypeDef sConfigOC = {0};

    htim2.Instance = TIM2;
    htim2.Init.Prescaler = 0;
    htim2.Init.CounterMode = TIM_COUNTERMODE_UP;
    htim2.Init.Period = 4294967295;
    htim2.Init.ClockDivision = TIM_CLOCKDIVISION_DIV1;
    htim2.Init.AutoReloadPreload = TIM_AUTORELOAD_PRELOAD_DISABLE;
    if (HAL_TIM_Base_Init(&htim2) != HAL_OK)
    {
        Error_Handler();
    }
    sClockSourceConfig.ClockSource = TIM_CLOCKSOURCE_INTERNAL;
    if (HAL_TIM_ConfigClockSource(&htim2, &sClockSourceConfig) != HAL_OK)
    {
        Error_Handler();
    }
    if (HAL_TIM_PWM_Init(&htim2) != HAL_OK)
    {
        Error_Handler();
    }
    sMasterConfig.MasterOutputTrigger = TIM_TRGO_RESET;
    sMasterConfig.MasterSlaveMode = TIM_MASTERSLAVEMODE_DISABLE;
    if (HAL_TIMEx_MasterConfigSynchronization(&htim2, &sMasterConfig) != HAL_OK)
    {
        Error_Handler();
    }
    sConfigOC.OCMode = TIM_OCMODE_PWM1;
    sConfigOC.Pulse = 0;
    sConfigOC.OCPolarity = TIM_OCPOLARITY_HIGH;
    sConfigOC.OCFastMode = TIM_OCFAST_DISABLE;
    if (HAL_TIM_PWM_ConfigChannel(&htim2, &sConfigOC, TIM_CHANNEL_1) != HAL_OK)
    {
        Error_Handler();
    }
    if (HAL_TIM_PWM_ConfigChannel(&htim2, &sConfigOC, TIM_CHANNEL_2) != HAL_OK)
    {
        Error_Handler();
    }
    if (HAL_TIM_PWM_ConfigChannel(&htim2, &sConfigOC, TIM_CHANNEL_3) != HAL_OK)
    {
        Error_Handler();
    }
    HAL_TIM_MspPostInit(&htim2);
}

static void MX_TIM15_Init(void)
{

    TIM_MasterConfigTypeDef sMasterConfig = {0};
    TIM_IC_InitTypeDef sConfigIC = {0};

    htim15.Instance = TIM15;
    htim15.Init.Prescaler = 0;
    htim15.Init.CounterMode = TIM_COUNTERMODE_UP;
    htim15.Init.Period = 65535;
    htim15.Init.ClockDivision = TIM_CLOCKDIVISION_DIV1;
    htim15.Init.RepetitionCounter = 0;
    htim15.Init.AutoReloadPreload = TIM_AUTORELOAD_PRELOAD_DISABLE;
    if (HAL_TIM_IC_Init(&htim15) != HAL_OK)
    {
        Error_Handler();
    }
    sMasterConfig.MasterOutputTrigger = TIM_TRGO_RESET;
    sMasterConfig.MasterSlaveMode = TIM_MASTERSLAVEMODE_DISABLE;
    if (HAL_TIMEx_MasterConfigSynchronization(&htim15, &sMasterConfig) != HAL_OK)
    {
        Error_Handler();
    }
    sConfigIC.ICPolarity = TIM_INPUTCHANNELPOLARITY_RISING;
    sConfigIC.ICSelection = TIM_ICSELECTION_DIRECTTI;
    sConfigIC.ICPrescaler = TIM_ICPSC_DIV1;
    sConfigIC.ICFilter = 0;
    if (HAL_TIM_IC_ConfigChannel(&htim15, &sConfigIC, TIM_CHANNEL_1) != HAL_OK)
    {
        Error_Handler();
    }
    /* USER CODE BEGIN TIM15_Init 2 */
    // 100 kHz ticks for tach period measurement, kept here to survive CubeMX regen
    __HAL_TIM_SET_PRESCALER(&htim15, 239U);
    htim15.Init.Prescaler = 239U;
    htim15.Instance->EGR = TIM_EGR_UG;
    // Light input filter so ringing on the tach line isn't counted as extra edges
    sConfigIC.ICFilter = 8U;
    if (HAL_TIM_IC_ConfigChannel(&htim15, &sConfigIC, TIM_CHANNEL_1) != HAL_OK)
    {
        Error_Handler();
    }
    /* USER CODE END TIM15_Init 2 */
}

static void MX_TIM16_Init(void)
{

    TIM_OC_InitTypeDef sConfigOC = {0};
    TIM_BreakDeadTimeConfigTypeDef sBreakDeadTimeConfig = {0};

    htim16.Instance = TIM16;
    htim16.Init.Prescaler = 0;
    htim16.Init.CounterMode = TIM_COUNTERMODE_UP;
    htim16.Init.Period = 65535;
    htim16.Init.ClockDivision = TIM_CLOCKDIVISION_DIV1;
    htim16.Init.RepetitionCounter = 0;
    htim16.Init.AutoReloadPreload = TIM_AUTORELOAD_PRELOAD_DISABLE;
    if (HAL_TIM_Base_Init(&htim16) != HAL_OK)
    {
        Error_Handler();
    }
    if (HAL_TIM_PWM_Init(&htim16) != HAL_OK)
    {
        Error_Handler();
    }
    sConfigOC.OCMode = TIM_OCMODE_PWM1;
    sConfigOC.Pulse = 0;
    sConfigOC.OCPolarity = TIM_OCPOLARITY_HIGH;
    sConfigOC.OCNPolarity = TIM_OCNPOLARITY_HIGH;
    sConfigOC.OCFastMode = TIM_OCFAST_DISABLE;
    sConfigOC.OCIdleState = TIM_OCIDLESTATE_RESET;
    sConfigOC.OCNIdleState = TIM_OCNIDLESTATE_RESET;
    if (HAL_TIM_PWM_ConfigChannel(&htim16, &sConfigOC, TIM_CHANNEL_1) != HAL_OK)
    {
        Error_Handler();
    }
    sBreakDeadTimeConfig.OffStateRunMode = TIM_OSSR_DISABLE;
    sBreakDeadTimeConfig.OffStateIDLEMode = TIM_OSSI_DISABLE;
    sBreakDeadTimeConfig.LockLevel = TIM_LOCKLEVEL_OFF;
    sBreakDeadTimeConfig.DeadTime = 0;
    sBreakDeadTimeConfig.BreakState = TIM_BREAK_DISABLE;
    sBreakDeadTimeConfig.BreakPolarity = TIM_BREAKPOLARITY_HIGH;
    sBreakDeadTimeConfig.AutomaticOutput = TIM_AUTOMATICOUTPUT_DISABLE;
    if (HAL_TIMEx_ConfigBreakDeadTime(&htim16, &sBreakDeadTimeConfig) != HAL_OK)
    {
        Error_Handler();
    }
    HAL_TIM_MspPostInit(&htim16);
}

static void MX_GPIO_Init(void)
{
    GPIO_InitTypeDef GPIO_InitStruct = {0};

    /* GPIO Ports Clock Enable */
    __HAL_RCC_GPIOE_CLK_ENABLE();
    __HAL_RCC_GPIOC_CLK_ENABLE();
    __HAL_RCC_GPIOH_CLK_ENABLE();
    __HAL_RCC_GPIOA_CLK_ENABLE();
    __HAL_RCC_GPIOB_CLK_ENABLE();
    __HAL_RCC_GPIOD_CLK_ENABLE();

    /*Configure GPIO pin Output Level */
    HAL_GPIO_WritePin(GPIOE,
                      RS232_EN_Pin | RS232_FOFF_Pin | UVOV_EN_Pin | VS_OP_EN_Pin | VS_VBATT_EN_Pin |
                          EN_5V_REG_Pin | WC_EN_Pin | EXT_LED_CTRL_Pin,
                      GPIO_PIN_RESET);

    /*Configure GPIO pin Output Level */
    HAL_GPIO_WritePin(GPIOD,
                      BLE_RSTn_Pin | LED_B_Pin | LED_G_Pin | EN_12V_REG_Pin | EN_3V3_REG_Pin |
                          RTC_VCC_EN_Pin,
                      GPIO_PIN_RESET);

    /*Configure GPIO pin Output Level */
    HAL_GPIO_WritePin(GPIOC,
                      EXT_5V_CTRL_Pin | RUDDER_Pin | LED_R_Pin | CTRL_ACTS_Pin | EXT_12V_CTRL_Pin |
                          RS232_INV_Pin,
                      GPIO_PIN_RESET);

    /*Configure GPIO pin Output Level */
    HAL_GPIO_WritePin(EXT_5V_FAULT_GPIO_Port, EXT_5V_FAULT_Pin, GPIO_PIN_RESET);

    /*Configure GPIO pin Output Level */
    HAL_GPIO_WritePin(EXT_LED_FAULT_GPIO_Port, EXT_LED_FAULT_Pin, GPIO_PIN_RESET);

    /*Configure GPIO pin : PPS_Pin */
    GPIO_InitStruct.Pin = PPS_Pin;
    GPIO_InitStruct.Mode = GPIO_MODE_IT_RISING;
    GPIO_InitStruct.Pull = GPIO_NOPULL;
    HAL_GPIO_Init(PPS_GPIO_Port, &GPIO_InitStruct);

    /*Configure GPIO pins : RS232_EN_Pin RS232_FOFF_Pin UVOV_EN_Pin VS_OP_EN_Pin
                           VS_VBATT_EN_Pin EN_5V_REG_Pin WC_EN_Pin EXT_LED_CTRL_Pin */
    GPIO_InitStruct.Pin = RS232_EN_Pin | RS232_FOFF_Pin | UVOV_EN_Pin | VS_OP_EN_Pin |
                          VS_VBATT_EN_Pin | EN_5V_REG_Pin | WC_EN_Pin | EXT_LED_CTRL_Pin;
    GPIO_InitStruct.Mode = GPIO_MODE_OUTPUT_PP;
    GPIO_InitStruct.Pull = GPIO_NOPULL;
    GPIO_InitStruct.Speed = GPIO_SPEED_FREQ_LOW;
    HAL_GPIO_Init(GPIOE, &GPIO_InitStruct);

    /*Configure GPIO pin : UVOV_FAULT_Pin */
    GPIO_InitStruct.Pin = UVOV_FAULT_Pin;
    GPIO_InitStruct.Mode = GPIO_MODE_INPUT;
    GPIO_InitStruct.Pull = GPIO_NOPULL;
    HAL_GPIO_Init(UVOV_FAULT_GPIO_Port, &GPIO_InitStruct);

    /*Configure GPIO pins : BLE_RSTn_Pin LED_B_Pin LED_G_Pin EN_12V_REG_Pin
                           EN_3V3_REG_Pin RTC_VCC_EN_Pin */
    GPIO_InitStruct.Pin =
        BLE_RSTn_Pin | LED_B_Pin | LED_G_Pin | EN_12V_REG_Pin | EN_3V3_REG_Pin | RTC_VCC_EN_Pin;
    GPIO_InitStruct.Mode = GPIO_MODE_OUTPUT_PP;
    GPIO_InitStruct.Pull = GPIO_NOPULL;
    GPIO_InitStruct.Speed = GPIO_SPEED_FREQ_LOW;
    HAL_GPIO_Init(GPIOD, &GPIO_InitStruct);

    /*Configure GPIO pins : TURN_ON_SEL_Pin CFG1_Pin CFG0_Pin USB_SENSE_Pin
                           EXT_12V_FAULT_Pin */
    GPIO_InitStruct.Pin = TURN_ON_SEL_Pin | CFG1_Pin | CFG0_Pin | USB_SENSE_Pin | EXT_12V_FAULT_Pin;
    GPIO_InitStruct.Mode = GPIO_MODE_INPUT;
    GPIO_InitStruct.Pull = GPIO_NOPULL;
    HAL_GPIO_Init(GPIOD, &GPIO_InitStruct);

    /*Configure GPIO pins : EXT_5V_CTRL_Pin RUDDER_Pin LED_R_Pin CTRL_ACTS_Pin
                           EXT_12V_CTRL_Pin RS232_INV_Pin */
    GPIO_InitStruct.Pin =
        EXT_5V_CTRL_Pin | RUDDER_Pin | LED_R_Pin | CTRL_ACTS_Pin | EXT_12V_CTRL_Pin | RS232_INV_Pin;
    GPIO_InitStruct.Mode = GPIO_MODE_OUTPUT_PP;
    GPIO_InitStruct.Pull = GPIO_NOPULL;
    GPIO_InitStruct.Speed = GPIO_SPEED_FREQ_LOW;
    HAL_GPIO_Init(GPIOC, &GPIO_InitStruct);

    /*Configure GPIO pin : FAULT_ACTS_Pin */
    GPIO_InitStruct.Pin = FAULT_ACTS_Pin;
    GPIO_InitStruct.Mode = GPIO_MODE_INPUT;
    GPIO_InitStruct.Pull = GPIO_NOPULL;
    HAL_GPIO_Init(FAULT_ACTS_GPIO_Port, &GPIO_InitStruct);

    /*Configure GPIO pin : EXT_5V_FAULT_Pin */
    GPIO_InitStruct.Pin = EXT_5V_FAULT_Pin;
    GPIO_InitStruct.Mode = GPIO_MODE_OUTPUT_PP;
    GPIO_InitStruct.Pull = GPIO_NOPULL;
    GPIO_InitStruct.Speed = GPIO_SPEED_FREQ_LOW;
    HAL_GPIO_Init(EXT_5V_FAULT_GPIO_Port, &GPIO_InitStruct);

    /*Configure GPIO pin : EXT_LED_FAULT_Pin */
    GPIO_InitStruct.Pin = EXT_LED_FAULT_Pin;
    GPIO_InitStruct.Mode = GPIO_MODE_OUTPUT_PP;
    GPIO_InitStruct.Pull = GPIO_NOPULL;
    GPIO_InitStruct.Speed = GPIO_SPEED_FREQ_LOW;
    HAL_GPIO_Init(EXT_LED_FAULT_GPIO_Port, &GPIO_InitStruct);

    /*Configure GPIO pin : RTC_INT_Pin */
    GPIO_InitStruct.Pin = RTC_INT_Pin;
    GPIO_InitStruct.Mode = GPIO_MODE_IT_RISING;
    GPIO_InitStruct.Pull = GPIO_NOPULL;
    HAL_GPIO_Init(RTC_INT_GPIO_Port, &GPIO_InitStruct);

    /* USER CODE BEGIN MX_GPIO_Init_2 */
    GPIO_InitStruct.Pin = REED_WAKE_Pin;
    GPIO_InitStruct.Mode = GPIO_MODE_IT_RISING;
    GPIO_InitStruct.Pull = GPIO_NOPULL;
    HAL_GPIO_Init(REED_WAKE_GPIO_Port, &GPIO_InitStruct);
    HAL_NVIC_SetPriority(EXTI15_10_IRQn, 0, 0);
    HAL_NVIC_EnableIRQ(EXTI15_10_IRQn);
    /* USER CODE END MX_GPIO_Init_2 */
}

/* USER CODE BEGIN 4 */
void HAL_TIM_IC_CaptureCallback(TIM_HandleTypeDef* htim)
{
    if (htim->Instance == TIM15 && htim->Channel == HAL_TIM_ACTIVE_CHANNEL_1)
    {
        uint16_t capture = (uint16_t)HAL_TIM_ReadCapturedValue(htim, TIM_CHANNEL_1);
        uint32_t now_ms = HAL_GetTick();

        // After a stall the counter may have wrapped, so only time edges that are close together
        if (tach_have_edge && (now_ms - tach_last_edge_ms) < TACH_TIMEOUT_MS)
        {
            uint16_t period_ticks = (uint16_t)(capture - tach_last_capture);
            if (period_ticks > 0U)
            {
                tach_periods[tach_period_next] = period_ticks;
                tach_period_next = (tach_period_next + 1U) % TACH_PULSES_PER_REV;
                if (tach_period_count < TACH_PULSES_PER_REV)
                {
                    ++tach_period_count;
                }
            }
        }
        else
        {
            tach_period_count = 0U;
            tach_period_next = 0U;
        }

        tach_last_capture = capture;
        tach_last_edge_ms = now_ms;
        tach_have_edge = true;
    }
}

void HAL_LPTIM_AutoReloadMatchCallback(LPTIM_HandleTypeDef* hlptim)
{
    if (hlptim->Instance == LPTIM1)
    {
        lptim_wake_flag = 1U;
    }
}

void HAL_GPIO_EXTI_Callback(uint16_t GPIO_Pin)
{
    if (GPIO_Pin == REED_WAKE_Pin)
    {
        reed_wake_flag = 1U;
    }
}

void power_board_set_sleep_interval_ms(uint32_t interval_ms)
{
    sleep_interval_ms = (interval_ms == 0U) ? 1U : interval_ms;
}

void power_board_set_sleep_interval_seconds(uint32_t interval_s)
{
    if (interval_s > (UINT32_MAX / 1000U))
    {
        power_board_set_sleep_interval_ms(UINT32_MAX);
        return;
    }

    power_board_set_sleep_interval_ms(interval_s * 1000U);
}

uint32_t power_board_get_sleep_interval_ms(void) { return sleep_interval_ms; }

void power_board_request_low_power_mode_ms(uint32_t duration_ms)
{
    requested_low_power_ms = (duration_ms == 0U) ? 1U : duration_ms;
}

void power_board_request_low_power_mode_seconds(uint32_t duration_s)
{
    current_state = SLEEP_STATE;
    if (duration_s > (UINT32_MAX / 1000U))
    {
        power_board_request_low_power_mode_ms(UINT32_MAX);
        return;
    }

    power_board_request_low_power_mode_ms(duration_s * 1000U);
}

// Jumps to the ROM bootloader, which re-enumerates USB as a DFU device.
// The app is not erased first, so a failed jump doesn't require SWD to recover.
void jumpToBootloader(void)
{
    __disable_irq();

    extern USBD_HandleTypeDef hUsbDeviceFS;
    USBD_DeInit(&hUsbDeviceFS);

    SysTick->CTRL = 0;
    SysTick->LOAD = 0;
    SysTick->VAL = 0;

    HAL_DeInit();
    HAL_RCC_DeInit();

    SCB->VTOR = (uint32_t)BOOTVTAB;

    for (uint8_t i = 0; i < (sizeof(NVIC->ICER) / sizeof(NVIC->ICER[0])); i++)
    {
        NVIC->ICER[i] = 0xFFFFFFFF;
        NVIC->ICPR[i] = 0xFFFFFFFF;
    }

    __set_MSP(BOOTVTAB->Initial_SP);

    BOOTVTAB->Reset_Handler();
}
/* USER CODE END 4 */

void Error_Handler(void)
{
    __disable_irq();
    while (1) {}
}
